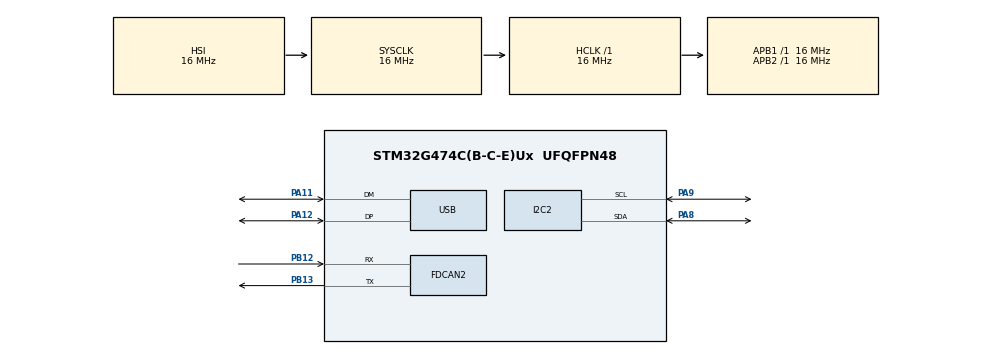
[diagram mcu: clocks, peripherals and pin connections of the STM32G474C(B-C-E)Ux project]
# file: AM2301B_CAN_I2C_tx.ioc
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FDCAN2.CalculateBaudRateNominal=500000
FDCAN2.CalculateTimeBitNominal=2000
FDCAN2.CalculateTimeQuantumNominal=125.0
FDCAN2.NominalPrescaler=2
FDCAN2.NominalTimeSeg1=13
FDCAN2.NominalTimeSeg2=2
I2C2.Timing=0x00503D58
Mcu.Family=STM32G4
Mcu.Name=STM32G474C(B-C-E)Ux
Mcu.Package=UFQFPN48
NVIC.FDCAN2_IT0_IRQn=true\:0\:0\:false\:false\:true\:true\:true\:true
NVIC.PriorityGroup=NVIC_PRIORITYGROUP_4
NVIC.USB_LP_IRQn=true\:0\:0\:false\:false\:true\:false\:true\:true
PA11.Mode=Device
PA11.Signal=USB_DM
PA12.Mode=Device
PA12.Signal=USB_DP
PA8.Mode=I2C
PA8.Signal=I2C2_SDA
PA9.Mode=I2C
PA9.Signal=I2C2_SCL
PB12.Mode=FDCAN_Activate
PB12.Signal=FDCAN2_RX
PB13.Mode=FDCAN_Activate
PB13.Signal=FDCAN2_TX
ProjectManager.HeapSize=0x200
ProjectManager.StackSize=0x400
ProjectManager.TargetToolchain=STM32CubeIDE
RCC.AHBFreq_Value=16000000
RCC.APB1Freq_Value=16000000
RCC.APB1TimFreq_Value=16000000
RCC.APB2Freq_Value=16000000
RCC.APB2TimFreq_Value=16000000
RCC.CortexFreq_Value=16000000
RCC.EXTERNAL_CLOCK_VALUE=12288000
RCC.HCLKFreq_Value=16000000
RCC.HSE_VALUE=8000000
RCC.HSI48_VALUE=48000000
RCC.HSI_VALUE=16000000
RCC.LSE_VALUE=32768
RCC.PLLN=12
RCC.PLLQ=RCC_PLLQ_DIV4
RCC.SYSCLKFreq_VALUE=16000000
RCC.USBFreq_Value=48000000
RCC.VCOOutputFreq_Value=192000000
USB_DEVICE.CLASS_NAME_FS=CDC
USB_DEVICE.VirtualMode=Cdc
USB_DEVICE.VirtualModeFS=Cdc_FS
VP_SYS_VS_DBSignals.Mode=DisableDeadBatterySignals
VP_USB_DEVICE_VS_USB_DEVICE_CDC_FS.Mode=CDC_FS
board=custom

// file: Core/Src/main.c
/* USER CODE BEGIN Header */
/**
  ******************************************************************************
  * @file           : main.c
  * @brief          : Main program body
  ******************************************************************************
  * @attention
  *
  * Copyright (c) 2026 STMicroelectronics.
  * All rights reserved.
  *
  * This software is licensed under terms that can be found in the LICENSE file
  * in the root directory of this software component.
  * If no LICENSE file comes with this software, it is provided AS-IS.
  *
  ******************************************************************************
  */
/* USER CODE END Header */
#include "main.h"
#include "usb_device.h"

/* USER CODE BEGIN Includes */
#include "usbd_cdc_if.h"
#include <stdio.h>
#include <string.h>
/* USER CODE END Includes */

/* USER CODE BEGIN PD */
#define AM2301B_ADDR_7BIT  0x38
#define AM2301B_ADDR_8BIT  (AM2301B_ADDR_7BIT << 1)
/* USER CODE END PD */

FDCAN_HandleTypeDef hfdcan2;

I2C_HandleTypeDef hi2c2;

/* USER CODE BEGIN PV */
int counter = 0;
FDCAN_TxHeaderTypeDef TxHeader;
uint8_t TxData[8] = {0};
/* USER CODE END PV */

void SystemClock_Config(void);
static void MX_GPIO_Init(void);
static void MX_FDCAN2_Init(void);
static void MX_I2C2_Init(void);

/* USER CODE BEGIN 0 */
// Polynomial 1+X4+X5+X8 corresponds to 0x31
static uint8_t am2301b_crc8(const uint8_t *data, uint8_t len)
{
  uint8_t crc = 0xFF;
  for (uint8_t i = 0; i < len; i++) {
    crc ^= data[i];
    for (uint8_t b = 0; b < 8; b++) {
      if (crc & 0x80) crc = (uint8_t)((crc << 1) ^ 0x31);
      else           crc = (uint8_t)(crc << 1);
    }
  }
  return crc;
}

// Read one status byte (command 0x71)
static HAL_StatusTypeDef am2301b_read_status(I2C_HandleTypeDef *hi2c, uint8_t *status)
{
  uint8_t cmd = 0x71;
  HAL_StatusTypeDef ok;

  ok = HAL_I2C_Master_Transmit(hi2c, AM2301B_ADDR_8BIT, &cmd, 1, 100);
  if (ok != HAL_OK) return ok;

  return HAL_I2C_Master_Receive(hi2c, AM2301B_ADDR_8BIT, status, 1, 100);
}

// Trigger measurement (0xAC 0x33 0x00)
static HAL_StatusTypeDef am2301b_trigger_measurement(I2C_HandleTypeDef *hi2c)
{
  uint8_t cmd[3] = {0xAC, 0x33, 0x00};
  return HAL_I2C_Master_Transmit(hi2c, AM2301B_ADDR_8BIT, cmd, sizeof(cmd), 100);
}

// Read 6 data bytes
static HAL_StatusTypeDef am2301b_read_data6(I2C_HandleTypeDef *hi2c, uint8_t data6[6])
{
  return HAL_I2C_Master_Receive(hi2c, AM2301B_ADDR_8BIT, data6, 6, 200);
}

// Convert raw bytes to humidity (%) and temperature (°C)
static void am2301b_convert(const uint8_t d[6], float *rh_percent, float *temp_c)
{

  // d0 = status, then 20-bit humidity, then 20-bit temperature in remaining bits.
  // humidity_raw = d1<<12 | d2<<4 | (d3>>4)
  // temp_raw     = (d3&0x0F)<<16 | d4<<8 | d5

  uint32_t humidity_raw = ((uint32_t)d[1] << 12) | ((uint32_t)d[2] << 4) | ((uint32_t)(d[3] >> 4));
  uint32_t temp_raw     = ((uint32_t)(d[3] & 0x0F) << 16) | ((uint32_t)d[4] << 8) | (uint32_t)d[5];

  // RH[%] = (SRH / 2^20) * 100
  // T[°C] = (ST / 2^20) * 200 - 50
  *rh_percent = ((float)humidity_raw * 100.0f) / 1048576.0f; // 2^20
  *temp_c     = ((float)temp_raw     * 200.0f) / 1048576.0f - 50.0f;
}

static HAL_StatusTypeDef am2301b_read(float *rh_percent, float *temp_c)
{
  HAL_StatusTypeDef ok;
  uint8_t status = 0;

  // Read status (0x71).
  ok = am2301b_read_status(&hi2c2, &status);
  if (ok != HAL_OK) return ok;

  // Trigger measurement
  ok = am2301b_trigger_measurement(&hi2c2);
  if (ok != HAL_OK) return ok;

  // Wait >=80ms, then poll busy bit (Bit7) until 0
  HAL_Delay(80);

  for (int tries = 0; tries < 10; tries++) {
    ok = am2301b_read_status(&hi2c2, &status);
    if (ok != HAL_OK) return ok;

    if ((status & 0x80) == 0) break; // Bit7 == 0 => ready
    HAL_Delay(10);
  }

  if (status & 0x80) {
    // still busy after polling
    return HAL_TIMEOUT;
  }

  // Read 6 bytes
  uint8_t d[6] = {0};
  ok = am2301b_read_data6(&hi2c2, d);
  if (ok != HAL_OK) return ok;

  // Convert
  am2301b_convert(d, rh_percent, temp_c);

  return HAL_OK;
}

/* USER CODE END 0 */

int main(void)
{

  /* MCU Configuration--------------------------------------------------------*/

  /* Reset of all peripherals, Initializes the Flash interface and the Systick. */
  HAL_Init();

  /* Configure the system clock */
  SystemClock_Config();

  /* Initialize all configured peripherals */
  MX_GPIO_Init();
  MX_FDCAN2_Init();
  MX_I2C2_Init();
  MX_USB_Device_Init();
  /* USER CODE BEGIN 2 */
  HAL_Delay(3000);  /* let USB CDC enumerate */

   char initmsg[80];
   int initlen;

   TxHeader.Identifier          = 0x100;
   TxHeader.IdType              = FDCAN_STANDARD_ID;
   TxHeader.TxFrameType         = FDCAN_DATA_FRAME;
   TxHeader.DataLength          = FDCAN_DLC_BYTES_8;
   TxHeader.ErrorStateIndicator = FDCAN_ESI_ACTIVE;
   TxHeader.BitRateSwitch       = FDCAN_BRS_OFF;
   TxHeader.FDFormat            = FDCAN_CLASSIC_CAN;
   TxHeader.TxEventFifoControl  = FDCAN_NO_TX_EVENTS;
   TxHeader.MessageMarker       = 0;

   if (HAL_FDCAN_Start(&hfdcan2) != HAL_OK) {
     initlen = snprintf(initmsg, sizeof(initmsg), "FAIL: FDCAN Start\r\n");
     CDC_Transmit_FS((uint8_t *)initmsg, initlen);
     HAL_Delay(100);
   } else {
     initlen = snprintf(initmsg, sizeof(initmsg), "FDCAN2 started — transmitting...\r\n");
     CDC_Transmit_FS((uint8_t *)initmsg, initlen);
     HAL_Delay(100);
   }
  /* USER CODE END 2 */

  /* Infinite loop */
  while (1)
  {

		/* USER CODE BEGIN 3 */
	  float rh = 0.0f, tc = 0.0f;
	      char buf[96];

	      if (am2301b_read(&rh, &tc) == HAL_OK)
	      {
	          int rh_x10 = (int)(rh * 10.0f);
	          int tc_x10 = (int)(tc * 10.0f);
	          int tf_x10 = (tc_x10 * 9) / 5 + 320;

	          snprintf(buf, sizeof(buf),
	                   "Humidity: %d.%d %%RH, Temp: %d.%d C / %d.%d F\r\n",
	                   rh_x10 / 10, abs(rh_x10 % 10),
	                   tc_x10 / 10, abs(tc_x10 % 10),
	                   tf_x10 / 10, abs(tf_x10 % 10));
	          CDC_Transmit_FS((uint8_t *)buf, strlen(buf));

	          TxData[0] = (int8_t) (rh_x10/10);
	          TxData[1] = 0;
	          TxData[2] = 0;
	          TxData[3] = (int8_t) (tc_x10/10);
	          TxData[4] = 0;
	          TxData[5] = 0;
	          TxData[6] = 0;
	          TxData[7] = (int8_t) (tf_x10/10);

	          char msg[80];
	          int len;
	          HAL_StatusTypeDef whatsTheError =
	              HAL_FDCAN_AddMessageToTxFifoQ(&hfdcan2, &TxHeader, TxData);

	          if (whatsTheError == HAL_OK)
	              len = snprintf(msg, sizeof(msg), "TX OK  | counter=%d\r\n", counter);
	          else
	              len = snprintf(msg, sizeof(msg), "TX FAIL| counter=%d\r\n", counter);

	          CDC_Transmit_FS((uint8_t *)msg, len);
	      }
	      else
	      {
	          snprintf(buf, sizeof(buf), "AM2301B read error\r\n");
	          CDC_Transmit_FS((uint8_t *)buf, strlen(buf));
	      }

	      counter++;
	      HAL_Delay(2000);
  }
  /* USER CODE END 3 */
}

void SystemClock_Config(void)
{
  RCC_OscInitTypeDef RCC_OscInitStruct = {0};
  RCC_ClkInitTypeDef RCC_ClkInitStruct = {0};

  /** Configure the main internal regulator output voltage
  */
  HAL_PWREx_ControlVoltageScaling(PWR_REGULATOR_VOLTAGE_SCALE1);

  /** Initializes the RCC Oscillators according to the specified parameters
  * in the RCC_OscInitTypeDef structure.
  */
  RCC_OscInitStruct.OscillatorType = RCC_OSCILLATORTYPE_HSI;
  RCC_OscInitStruct.HSIState = RCC_HSI_ON;
  RCC_OscInitStruct.HSICalibrationValue = RCC_HSICALIBRATION_DEFAULT;
  RCC_OscInitStruct.PLL.PLLState = RCC_PLL_ON;
  RCC_OscInitStruct.PLL.PLLSource = RCC_PLLSOURCE_HSI;
  RCC_OscInitStruct.PLL.PLLM = RCC_PLLM_DIV1;
  RCC_OscInitStruct.PLL.PLLN = 12;
  RCC_OscInitStruct.PLL.PLLP = RCC_PLLP_DIV2;
  RCC_OscInitStruct.PLL.PLLQ = RCC_PLLQ_DIV4;
  RCC_OscInitStruct.PLL.PLLR = RCC_PLLR_DIV2;
  if (HAL_RCC_OscConfig(&RCC_OscInitStruct) != HAL_OK)
  {
    Error_Handler();
  }

  /** Initializes the CPU, AHB and APB buses clocks
  */
  RCC_ClkInitStruct.ClockType = RCC_CLOCKTYPE_HCLK|RCC_CLOCKTYPE_SYSCLK
                              |RCC_CLOCKTYPE_PCLK1|RCC_CLOCKTYPE_PCLK2;
  RCC_ClkInitStruct.SYSCLKSource = RCC_SYSCLKSOURCE_HSI;
  RCC_ClkInitStruct.AHBCLKDivider = RCC_SYSCLK_DIV1;
  RCC_ClkInitStruct.APB1CLKDivider = RCC_HCLK_DIV1;
  RCC_ClkInitStruct.APB2CLKDivider = RCC_HCLK_DIV1;

  if (HAL_RCC_ClockConfig(&RCC_ClkInitStruct, FLASH_LATENCY_0) != HAL_OK)
  {
    Error_Handler();
  }
}

static void MX_FDCAN2_Init(void)
{

  hfdcan2.Instance = FDCAN2;
  hfdcan2.Init.ClockDivider = FDCAN_CLOCK_DIV1;
  hfdcan2.Init.FrameFormat = FDCAN_FRAME_CLASSIC;
  hfdcan2.Init.Mode = FDCAN_MODE_NORMAL;
  hfdcan2.Init.AutoRetransmission = DISABLE;
  hfdcan2.Init.TransmitPause = DISABLE;
  hfdcan2.Init.ProtocolException = DISABLE;
  hfdcan2.Init.NominalPrescaler = 2;
  hfdcan2.Init.NominalSyncJumpWidth = 1;
  hfdcan2.Init.NominalTimeSeg1 = 13;
  hfdcan2.Init.NominalTimeSeg2 = 2;
  hfdcan2.Init.DataPrescaler = 1;
  hfdcan2.Init.DataSyncJumpWidth = 1;
  hfdcan2.Init.DataTimeSeg1 = 1;
  hfdcan2.Init.DataTimeSeg2 = 1;
  hfdcan2.Init.StdFiltersNbr = 0;
  hfdcan2.Init.ExtFiltersNbr = 0;
  hfdcan2.Init.TxFifoQueueMode = FDCAN_TX_FIFO_OPERATION;
  if (HAL_FDCAN_Init(&hfdcan2) != HAL_OK)
  {
    Error_Handler();
  }

}

static void MX_I2C2_Init(void)
{

  hi2c2.Instance = I2C2;
  hi2c2.Init.Timing = 0x00503D58;
  hi2c2.Init.OwnAddress1 = 0;
  hi2c2.Init.AddressingMode = I2C_ADDRESSINGMODE_7BIT;
  hi2c2.Init.DualAddressMode = I2C_DUALADDRESS_DISABLE;
  hi2c2.Init.OwnAddress2 = 0;
  hi2c2.Init.OwnAddress2Masks = I2C_OA2_NOMASK;
  hi2c2.Init.GeneralCallMode = I2C_GENERALCALL_DISABLE;
  hi2c2.Init.NoStretchMode = I2C_NOSTRETCH_DISABLE;
  if (HAL_I2C_Init(&hi2c2) != HAL_OK)
  {
    Error_Handler();
  }

  /** Configure Analogue filter
  */
  if (HAL_I2CEx_ConfigAnalogFilter(&hi2c2, I2C_ANALOGFILTER_ENABLE) != HAL_OK)
  {
    Error_Handler();
  }

  /** Configure Digital filter
  */
  if (HAL_I2CEx_ConfigDigitalFilter(&hi2c2, 0) != HAL_OK)
  {
    Error_Handler();
  }

}

static void MX_GPIO_Init(void)
{

  /* GPIO Ports Clock Enable */
  __HAL_RCC_GPIOB_CLK_ENABLE();
  __HAL_RCC_GPIOA_CLK_ENABLE();

}

void Error_Handler(void)
{
  __disable_irq();
  while (1)
  {
  }
}
